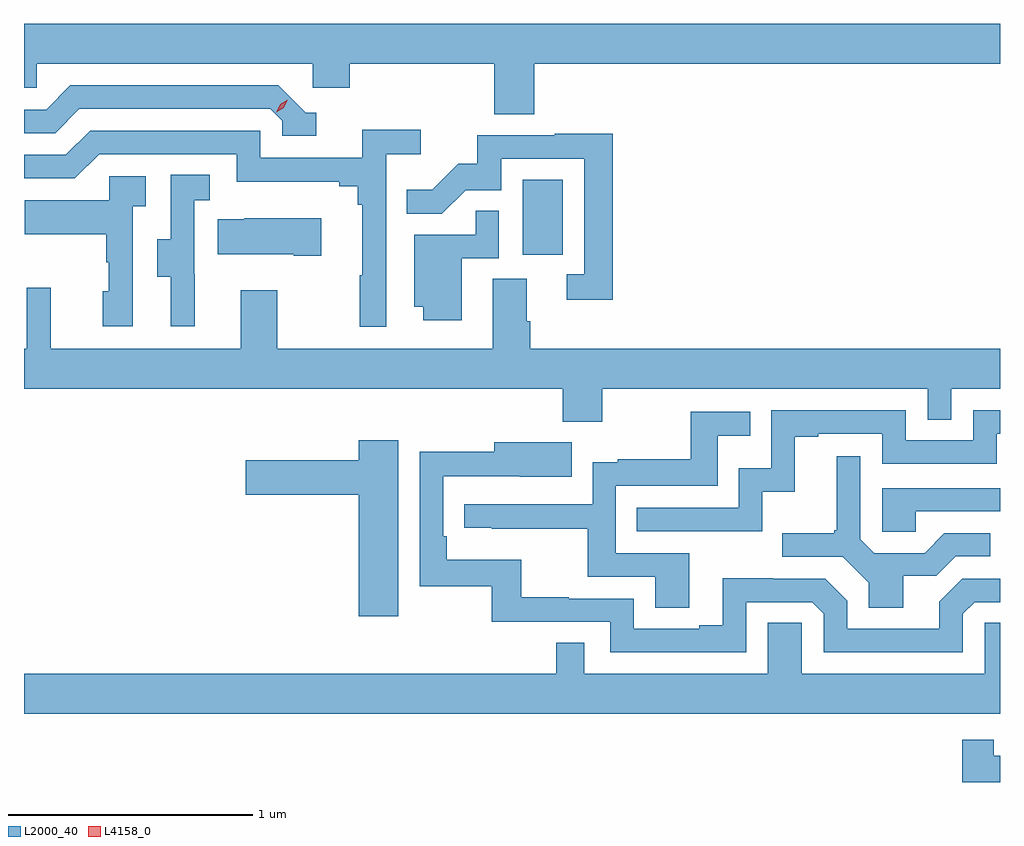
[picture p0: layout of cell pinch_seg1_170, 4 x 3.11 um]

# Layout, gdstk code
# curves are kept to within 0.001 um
import gdstk
lib = gdstk.Library(unit=1e-6, precision=1e-09)
def R(c, l, rs):  # rectangles x0, y0, x1, y1
    for r in rs: c.add(gdstk.rectangle(r[:2], r[2:], *l))
def P(c, l, *ps):  # polygons
    for p in ps: c.add(gdstk.Polygon(p, *l))
L2000_40 = (2000, 40)
L4158_0 = (4158, 0)

pinch_seg1_170 = lib.new_cell('pinch_seg1_170')
R(pinch_seg1_170, L2000_40, [(1102.868,548.286,1103.032,548.593)])
P(pinch_seg1_170, L2000_40, [(1102.916,549.068),(1104.824,549.068),(1104.824,549.232),(1100.824,549.232),(1100.824,548.97),(1100.877,548.97),(1100.877,549.068),(1102.008,549.068),(1102.008,548.97),(1102.16,548.97),(1102.16,549.068),(1102.751,549.068),(1102.751,548.86),(1102.916,548.86)],
  [(1102.021,548.868),(1101.978,548.868),(1101.867,548.979),(1101.014,548.979),(1100.915,548.88),(1100.824,548.88),(1100.824,548.784),(1100.952,548.784),(1101.051,548.883),(1101.834,548.883),(1101.882,548.835),(1101.882,548.772),(1102.021,548.772)],
  [(1102.308,548.696),(1102.45,548.696),(1102.45,548.798),(1102.211,548.798),(1102.211,548.682),(1101.792,548.682),(1101.792,548.793),(1101.095,548.793),(1100.996,548.694),(1100.824,548.694),(1100.824,548.598),(1101.033,548.598),(1101.132,548.697),(1101.696,548.697),(1101.696,548.585),(1102.115,548.585),(1102.115,548.566),(1102.192,548.566),(1102.192,548.489),(1102.211,548.489),(1102.211,548.201),(1102.2,548.201),(1102.2,547.989),(1102.308,547.989)],
  [(1103.237,548.78),(1102.999,548.78),(1102.999,548.775),(1102.681,548.775),(1102.681,548.658),(1102.604,548.658),(1102.497,548.551),(1102.393,548.551),(1102.393,548.453),(1102.537,548.453),(1102.634,548.55),(1102.779,548.55),(1102.779,548.679),(1103.121,548.679),(1103.121,548.205),(1103.049,548.205),(1103.049,548.1),(1103.237,548.1)],
  [(1101.524,548.205),(1101.522,548.205),(1101.522,548.509),(1101.586,548.509),(1101.586,548.612),(1101.426,548.612),(1101.426,548.349),(1101.371,548.349),(1101.371,548.194),(1101.425,548.194),(1101.425,547.992),(1101.524,547.992)],
  [(1101.27,548.483),(1101.322,548.483),(1101.322,548.607),(1101.174,548.607),(1101.174,548.509),(1100.827,548.509),(1100.827,548.369),(1101.162,548.369),(1101.162,548.255),(1101.172,548.255),(1101.172,548.136),(1101.146,548.136),(1101.146,547.992),(1101.27,547.992)],
  [(1102.618,548.271),(1102.77,548.271),(1102.77,548.465),(1102.675,548.465),(1102.675,548.367),(1102.424,548.367),(1102.424,548.072),(1102.46,548.072),(1102.46,548.016),(1102.618,548.016)],
  [(1102.042,548.434),(1101.727,548.434),(1101.727,548.431),(1101.619,548.431),(1101.619,548.288),(1101.929,548.288),(1101.929,548.281),(1102.042,548.281)],
  [(1103.193,547.736),(1104.528,547.736),(1104.528,547.609),(1104.624,547.609),(1104.624,547.736),(1104.824,547.736),(1104.824,547.9),(1102.898,547.9),(1102.898,548.012),(1102.885,548.012),(1102.885,548.186),(1102.745,548.186),(1102.745,547.9),(1101.861,547.9),(1101.861,548.14),(1101.713,548.14),(1101.713,547.9),(1100.933,547.9),(1100.933,548.149),(1100.835,548.149),(1100.835,547.9),(1100.824,547.9),(1100.824,547.736),(1103.033,547.736),(1103.033,547.601),(1103.193,547.601)],
  [(1103.85,547.313),(1103.983,547.313),(1103.983,547.539),(1104.079,547.539),(1104.079,547.551),(1104.342,547.551),(1104.342,547.428),(1104.81,547.428),(1104.81,547.551),(1104.824,547.551),(1104.824,547.647),(1104.714,547.647),(1104.714,547.524),(1104.438,547.524),(1104.438,547.647),(1103.886,547.647),(1103.886,547.411),(1103.754,547.411),(1103.754,547.248),(1103.335,547.248),(1103.335,547.152),(1103.85,547.152)],
  [(1103.551,547.062),(1103.25,547.062),(1103.25,547.338),(1103.667,547.338),(1103.667,547.544),(1103.801,547.544),(1103.801,547.641),(1103.556,547.641),(1103.556,547.447),(1103.257,547.447),(1103.257,547.435),(1103.154,547.435),(1103.154,547.263),(1102.629,547.263),(1102.629,547.167),(1102.741,547.167),(1102.741,547.162),(1103.134,547.162),(1103.134,546.966),(1103.411,546.966),(1103.411,546.838),(1103.551,546.838)],
  [(1102.357,547.525),(1102.196,547.525),(1102.196,547.443),(1101.732,547.443),(1101.732,547.301),(1102.196,547.301),(1102.196,546.804),(1102.357,546.804)],
  [(1103.784,546.861),(1104.054,546.861),(1104.102,546.813),(1104.102,546.657),(1104.672,546.657),(1104.672,546.813),(1104.72,546.861),(1104.824,546.861),(1104.824,546.957),(1104.669,546.957),(1104.575,546.863),(1104.575,546.753),(1104.198,546.753),(1104.198,546.867),(1104.108,546.957),(1103.892,546.957),(1103.892,546.959),(1103.687,546.959),(1103.687,546.766),(1103.591,546.766),(1103.591,546.753),(1103.322,546.753),(1103.322,546.876),(1103.057,546.876),(1103.057,546.881),(1102.861,546.881),(1102.861,547.036),(1102.556,547.036),(1102.556,547.132),(1102.542,547.132),(1102.542,547.377),(1103.069,547.376),(1103.069,547.516),(1102.751,547.516),(1102.751,547.478),(1102.446,547.478),(1102.446,546.927),(1102.74,546.927),(1102.74,546.78),(1103.226,546.78),(1103.226,546.657),(1103.784,546.657)],
  [(1104.427,546.97),(1104.562,546.97),(1104.642,547.05),(1104.784,547.05),(1104.784,547.143),(1104.596,547.143),(1104.515,547.062),(1104.309,547.062),(1104.252,547.119),(1104.252,547.459),(1104.155,547.459),(1104.155,547.156),(1104.144,547.156),(1104.144,547.144),(1103.931,547.144),(1103.931,547.047),(1104.18,547.047),(1104.287,546.94),(1104.287,546.838),(1104.427,546.838)],
  [(1104.479,547.233),(1104.824,547.233),(1104.824,547.329),(1104.342,547.329),(1104.342,547.149),(1104.479,547.149)],
  [(1104.824,546.776),(1104.762,546.776),(1104.762,546.568),(1104.012,546.568),(1104.012,546.776),(1103.873,546.776),(1103.873,546.568),(1103.121,546.568),(1103.121,546.695),(1103.005,546.695),(1103.005,546.568),(1100.824,546.568),(1100.824,546.404),(1104.824,546.404)],
  [(1104.824,546.232),(1104.799,546.232),(1104.799,546.298),(1104.67,546.298),(1104.67,546.123),(1104.824,546.123)])
P(pinch_seg1_170, L4158_0, [(1101.858,548.869),(1101.858,548.869),(1101.874,548.902),(1101.905,548.921),(1101.905,548.921),(1101.905,548.921),(1101.889,548.888),(1101.858,548.869)])

lib.write_gds('pinch_seg1_170.gds')
